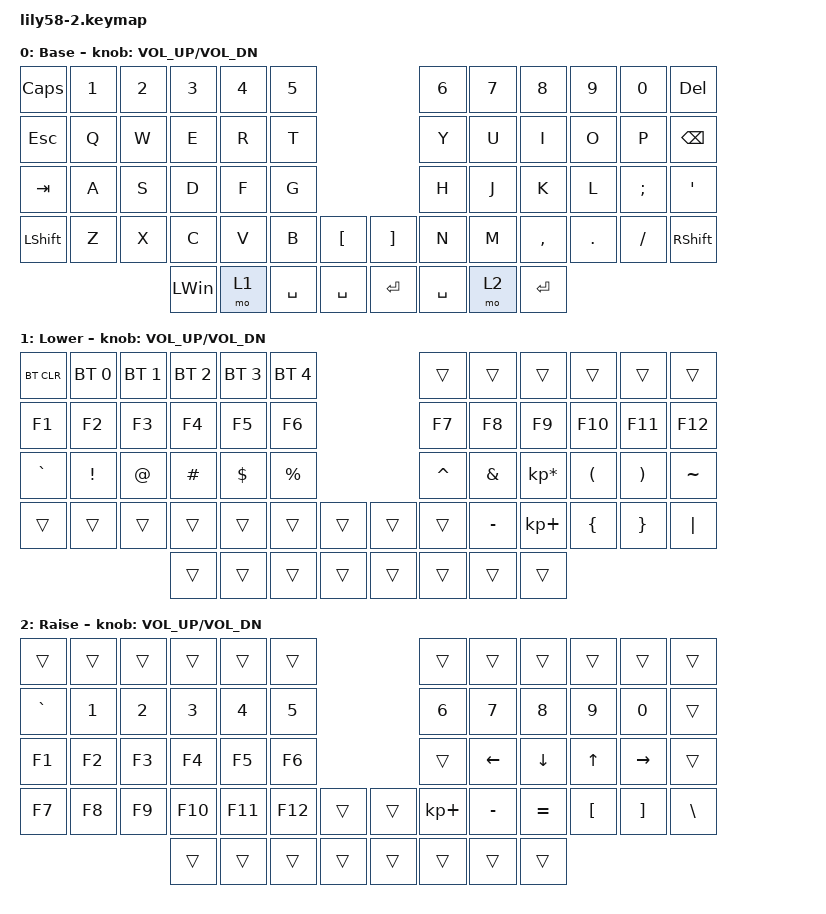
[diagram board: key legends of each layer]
/*
 * Copyright (c) 2020 The ZMK Contributors
 *
 * SPDX-License-Identifier: MIT
 */

#include <behaviors.dtsi>
#include <dt-bindings/zmk/keys.h>
#include <dt-bindings/zmk/bt.h>
#include <dt-bindings/zmk/ext_power.h>

/ {
    keymap {
        compatible = "zmk,keymap";

        default_layer {
            display-name = "Base";
            bindings = <
&kp CAPS  &kp N1 &kp N2 &kp N3       &kp N4   &kp N5                         &kp N6     &kp N7   &kp N8    &kp N9  &kp N0   &kp DELETE
&kp ESC   &kp Q  &kp W  &kp E        &kp R    &kp T                          &kp Y      &kp U    &kp I     &kp O   &kp P    &kp BSPC
&kp TAB   &kp A  &kp S  &kp D        &kp F    &kp G                          &kp H      &kp J    &kp K     &kp L   &kp SEMI &kp APOS
&kp LSHFT &kp Z  &kp X  &kp C        &kp V    &kp B      &kp LBKT   &kp RBKT &kp N      &kp M    &kp COMMA &kp DOT &kp FSLH &kp RSHFT
                        &kp LEFT_WIN &mo 1    &kp SPACE  &kp SPACE  &kp RET  &kp SPACE  &mo 2    &kp ENTER
            >;

            sensor-bindings = <&inc_dec_kp C_VOL_UP C_VOL_DN>;
        };

        lower_layer {
            display-name = "Lower";
            bindings = <
&bt BT_CLR &bt BT_SEL 0     &bt BT_SEL 1      &bt BT_SEL 2      &bt BT_SEL 3 &bt BT_SEL 4                 &trans    &trans    &trans          &trans    &trans    &trans
&kp F1     &kp F2           &kp F3            &kp F4            &kp F5       &kp F6                       &kp F7    &kp F8    &kp F9          &kp F10   &kp F11   &kp F12
&kp GRAVE  &kp EXCL         &kp AT            &kp HASH          &kp DOLLAR   &kp PRCNT                    &kp CARET &kp AMPS  &kp KP_MULTIPLY &kp LPAR  &kp RPAR  &kp TILDE
&trans     &trans           &trans            &trans            &trans       &trans    &trans   &trans    &trans    &kp MINUS &kp KP_PLUS     &kp LBRC  &kp RBRC  &kp PIPE
                                              &trans            &trans       &trans    &trans   &trans    &trans    &trans    &trans
            >;

            sensor-bindings = <&inc_dec_kp C_VOL_UP C_VOL_DN>;
        };

        raise_layer {
// ------------------------------------------------------------------------------------------------------------
// |       |     |     |      |      |      |                   |      |       |       |      |       |       |
// |   `   |  1  |  2  |  3   |  4   |  5   |                   |  6   |   7   |   8   |  9   |   0   |       |
// |   F1  |  F2 |  F3 |  F4  |  F5  |  F6  |                   |      |   <-  |   v   |  ^   |  ->   |       |
// |   F7  |  F8 |  F9 |  F10 |  F11 |  F12 |        |  |       |  +   |   -   |   =   |  [   |   ]   |   \   |
//                     |      |      |      |        |  |       |      |       |       |
            display-name = "Raise";
            bindings = <
&trans    &trans &trans &trans  &trans  &trans                       &trans      &trans    &trans    &trans   &trans    &trans
&kp GRAVE &kp N1 &kp N2 &kp N3  &kp N4  &kp N5                       &kp N6      &kp N7    &kp N8    &kp N9   &kp N0    &trans
&kp F1    &kp F2 &kp F3 &kp F4  &kp F5  &kp F6                       &trans      &kp LEFT  &kp DOWN  &kp UP   &kp RIGHT &trans
&kp F7    &kp F8 &kp F9 &kp F10 &kp F11 &kp F12   &trans   &trans    &kp KP_PLUS &kp MINUS &kp EQUAL &kp LBKT &kp RBKT  &kp BSLH
                        &trans  &trans  &trans    &trans   &trans    &trans      &trans    &trans
            >;

            sensor-bindings = <&inc_dec_kp C_VOL_UP C_VOL_DN>;
        };

        extra_1 {
            status = "reserved";
        };

        extra_2 {
            status = "reserved";
        };

        extra_3 {
            status = "reserved";
        };
    };
};
